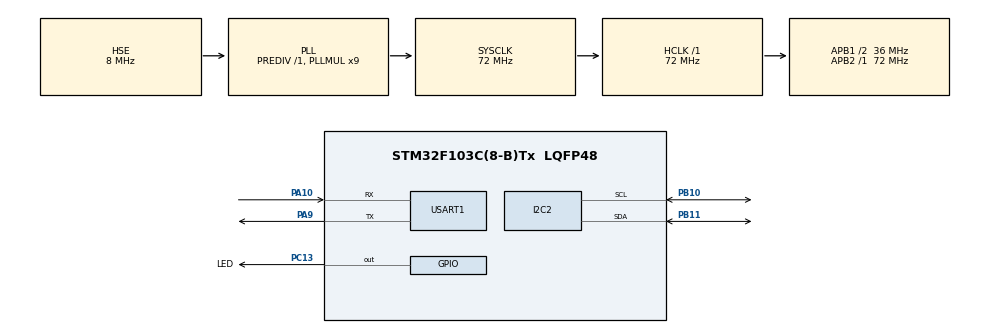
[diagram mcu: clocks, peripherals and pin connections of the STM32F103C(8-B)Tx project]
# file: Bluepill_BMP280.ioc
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Mcu.Family=STM32F1
Mcu.Name=STM32F103C(8-B)Tx
Mcu.Package=LQFP48
NVIC.PriorityGroup=NVIC_PRIORITYGROUP_4
PA10.Mode=Asynchronous
PA10.Signal=USART1_RX
PA13.Mode=Serial_Wire
PA13.Signal=SYS_JTMS-SWDIO
PA14.Mode=Serial_Wire
PA14.Signal=SYS_JTCK-SWCLK
PA9.Mode=Asynchronous
PA9.Signal=USART1_TX
PB10.Mode=I2C
PB10.Signal=I2C2_SCL
PB11.Mode=I2C
PB11.Signal=I2C2_SDA
PC13-TAMPER-RTC.GPIO_Label=LED
PC13-TAMPER-RTC.GPIO_ModeDefaultOutputPP=GPIO_MODE_OUTPUT_OD
PC13-TAMPER-RTC.GPIO_PuPd=GPIO_NOPULL
PC13-TAMPER-RTC.PinState=GPIO_PIN_SET
PC13-TAMPER-RTC.Signal=GPIO_Output
PD0-OSC_IN.Mode=HSE-External-Oscillator
PD0-OSC_IN.Signal=RCC_OSC_IN
PD1-OSC_OUT.Mode=HSE-External-Oscillator
PD1-OSC_OUT.Signal=RCC_OSC_OUT
ProjectManager.HeapSize=0x200
ProjectManager.StackSize=0x400
ProjectManager.TargetToolchain=STM32CubeIDE
RCC.AHBFreq_Value=72000000
RCC.APB1CLKDivider=RCC_HCLK_DIV2
RCC.APB1Freq_Value=36000000
RCC.APB1TimFreq_Value=72000000
RCC.APB2Freq_Value=72000000
RCC.APB2TimFreq_Value=72000000
RCC.HCLKFreq_Value=72000000
RCC.PLLMUL=RCC_PLL_MUL9
RCC.PLLSourceVirtual=RCC_PLLSOURCE_HSE
RCC.SYSCLKFreq_VALUE=72000000
RCC.SYSCLKSource=RCC_SYSCLKSOURCE_PLLCLK
RCC.USBFreq_Value=72000000
USART1.VirtualMode=VM_ASYNC
board=custom

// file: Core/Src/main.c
/* USER CODE BEGIN Header */
/**
  ******************************************************************************
  * @file           : main.c
  * @brief          : Main program body
  ******************************************************************************
  * @attention
  *
  * Copyright (c) 2025 STMicroelectronics.
  * All rights reserved.
  *
  * This software is licensed under terms that can be found in the LICENSE file
  * in the root directory of this software component.
  * If no LICENSE file comes with this software, it is provided AS-IS.
  *
  ******************************************************************************
  */
/* USER CODE END Header */
#include "main.h"

/* USER CODE BEGIN Includes */
#include <stdio.h>

/* USER CODE END Includes */

/* USER CODE BEGIN PTD */
typedef struct {
    uint16_t dig_T1;
    int16_t  dig_T2;
    int16_t  dig_T3;
    uint16_t dig_P1;
    int16_t  dig_P2;
    int16_t  dig_P3;
    int16_t  dig_P4;
    int16_t  dig_P5;
    int16_t  dig_P6;
    int16_t  dig_P7;
    int16_t  dig_P8;
    int16_t  dig_P9;
} bmp_calib_struct;

typedef struct{
	uint32_t raw_pressure;
	uint32_t raw_temp;
}bmp_raw_struct;

typedef struct{
	uint32_t scaled_pressure;
	int32_t scaled_temp;
}bmp_scaled_struct;

/* USER CODE END PTD */

/* USER CODE BEGIN PD */
#define BMP_ADDRESS 0x76<<1
#define BMP_CALIB_REG_ADDRESS 0x88

/* USER CODE END PD */

I2C_HandleTypeDef hi2c2;

UART_HandleTypeDef huart1;

/* USER CODE BEGIN PV */
bmp_calib_struct bmp_calib_data={0};
bmp_raw_struct bmp_raw={0};
bmp_scaled_struct bmp_scaled={0};

int32_t t_fine;

/* USER CODE END PV */

void SystemClock_Config(void);
static void MX_GPIO_Init(void);
static void MX_I2C2_Init(void);
static void MX_USART1_UART_Init(void);

/* USER CODE BEGIN 0 */

int _write(int fd, char *ptr, int len) {
    HAL_StatusTypeDef hstatus;

    if (fd == 1 || fd == 2) {
      hstatus = HAL_UART_Transmit(&huart1, (uint8_t *) ptr, len, HAL_MAX_DELAY);
      if (hstatus == HAL_OK)
        return len;
      else
        return -1;
    }
    return -1;
}

void bmp_init(){
	uint8_t reset = 0xB6;
	    HAL_I2C_Mem_Write(&hi2c2, BMP_ADDRESS, 0xE0, I2C_MEMADD_SIZE_8BIT, &reset, 1, 100); //Soft reset

	    HAL_Delay(5);

	    uint8_t ctrl_meas = 0x27;
	    HAL_I2C_Mem_Write(&hi2c2, BMP_ADDRESS, 0xF4, I2C_MEMADD_SIZE_8BIT, &ctrl_meas, 1, 100); //Minimal over-sampling and normal mode.

	    uint8_t config = 0x20;
	    HAL_I2C_Mem_Write(&hi2c2, BMP_ADDRESS, 0xF5, I2C_MEMADD_SIZE_8BIT, &config, 1, 100); //standby time setup, IIR filter off, SPI disabled.

}

void bmp_read_calib_data(bmp_calib_struct *bmp){
	    uint8_t rawValues[24];

	    uint8_t status;
	    uint32_t timeout = uwTick + 20;

	    do {
	        HAL_I2C_Mem_Read(&hi2c2, BMP_ADDRESS, 0xF3, I2C_MEMADD_SIZE_8BIT, &status, 1, 100);
	    } while ((status & 0x01) && uwTick < timeout);

	    HAL_I2C_Mem_Read(&hi2c2, BMP_ADDRESS, 0x88, I2C_MEMADD_SIZE_8BIT, rawValues, 24, 100);

	    bmp->dig_T1 = (rawValues[1] << 8) | rawValues[0];
	    bmp->dig_T2 = (rawValues[3] << 8) | rawValues[2];
	    bmp->dig_T3 = (rawValues[5] << 8) | rawValues[4];
	    bmp->dig_P1 = (rawValues[7] << 8) | rawValues[6];
	    bmp->dig_P2 = (rawValues[9] << 8) | rawValues[8];
	    bmp->dig_P3 = (rawValues[11]<<8) | rawValues[10];
	    bmp->dig_P4 = (rawValues[13]<<8) | rawValues[12];
	    bmp->dig_P5 = (rawValues[15]<<8) | rawValues[14];
	    bmp->dig_P6 = (rawValues[17]<<8) | rawValues[16];
	    bmp->dig_P7 = (rawValues[19]<<8) | rawValues[18];
	    bmp->dig_P8 = (rawValues[21]<<8) | rawValues[20];
	    bmp->dig_P9 = (rawValues[23]<<8) | rawValues[22];
}

void bmp_raw_read(bmp_raw_struct *bmp){
	uint8_t rawValues[6];

//	uint8_t status;
//
//	do{
//		HAL_I2C_Mem_Read(&hi2c2, BMP_ADDRESS, 0xF3, I2C_MEMADD_SIZE_8BIT, &status, 1, 100);
//	}while(status & 0x08);

	HAL_I2C_Mem_Read(&hi2c2, BMP_ADDRESS, 0xF7, I2C_MEMADD_SIZE_8BIT, rawValues, 6, 100);

	bmp->raw_pressure=(rawValues[0]<<12) | (rawValues[1]<<4) | (rawValues[2]>>4);
	bmp->raw_temp=(rawValues[3]<<12) | (rawValues[4]<<4) | (rawValues[5]>>4);
}

void bmp_scaling(bmp_calib_struct *bmpCalib, bmp_raw_struct *bmpRaw, bmp_scaled_struct *bmpScaled)
{
    // Temperature compensation
    int32_t Var1, Var2;

    Var1 = ((((bmpRaw->raw_temp >> 3) - ((int32_t)bmpCalib->dig_T1 << 1)) *
             (int32_t)bmpCalib->dig_T2) >> 11);

    Var2 = (((((bmpRaw->raw_temp >> 4) - ((int32_t)bmpCalib->dig_T1)) *
              ((bmpRaw->raw_temp >> 4) - ((int32_t)bmpCalib->dig_T1))) >> 12) *
            (int32_t)bmpCalib->dig_T3) >> 14;

    t_fine = Var1 + Var2;
    bmpScaled->scaled_temp = (t_fine * 5 + 128) >> 8;

    // Pressure compensation
    int64_t var1, var2, p;

    var1 = (int64_t)((t_fine - 128000) >> 0);
    var2 = var1 * var1 * (int64_t)bmpCalib->dig_P6;
    var2 = var2 + ((var1 * (int64_t)bmpCalib->dig_P5) << 17);
    var2 = var2 + ((int64_t)bmpCalib->dig_P4 << 35);

    var1 = ((var1 * var1 * (int64_t)bmpCalib->dig_P3) >> 8) +
           ((var1 * (int64_t)bmpCalib->dig_P2) << 12);
    var1 = (((((int64_t)1) << 47) + var1)) * ((int64_t)bmpCalib->dig_P1) >> 33;

    if (var1 == 0) {
        bmpScaled->scaled_pressure = 0;
        return;
    }

    p = 1048576LL - bmpRaw->raw_pressure;
    p = (((p << 31) - var2) * 3125LL) / var1;

    var1 = (((int64_t)bmpCalib->dig_P9) * (p >> 13) * (p >> 13)) >> 25;
    var2 = (((int64_t)bmpCalib->dig_P8) * p) >> 19;

    p = ((p + var1 + var2) >> 8) + (((int64_t)bmpCalib->dig_P7) << 4);
    bmpScaled->scaled_pressure = (uint32_t)p>>8;
}

//void i2c_scan() {
//    printf("Scanning I2C...\r\n");
//    for(uint8_t addr=1; addr<127; addr++) {
//        if(HAL_I2C_IsDeviceReady(&hi2c2, (addr<<1), 1, 10) == HAL_OK) {
//            printf("Found: 0x%02X\r\n", addr);
//        }
//    }
//}

/* USER CODE END 0 */

int main(void)
{

  /* MCU Configuration--------------------------------------------------------*/

  /* Reset of all peripherals, Initializes the Flash interface and the Systick. */
  HAL_Init();

  /* Configure the system clock */
  SystemClock_Config();

  /* Initialize all configured peripherals */
  MX_GPIO_Init();
  MX_I2C2_Init();
  MX_USART1_UART_Init();
  /* USER CODE BEGIN 2 */

  printf("--------------\r\n");

  HAL_Delay(1000);
  bmp_init();
  //i2c_scan();

//  HAL_StatusTypeDef s;
//  uint8_t id = 0xFF;
//  HAL_I2C_Init(&hi2c2);
//  HAL_Delay(5);
//
//  s = HAL_I2C_Mem_Read(&hi2c2, BMP_ADDRESS, 0xD0,
//                       I2C_MEMADD_SIZE_8BIT, &id, 1, 200);
//
//  printf("BMP probe: status=%d id=0x%02X\r\n", s, id);

  bmp_read_calib_data(&bmp_calib_data);

  printf("Calibration values-> T1=%u, P1=%u, P2=%d\r\n", bmp_calib_data.dig_T1, bmp_calib_data.dig_P1, bmp_calib_data.dig_P2);

  uint32_t now=0, nextBlink=500, nextBMP=1000;

  /* USER CODE END 2 */

  /* Infinite loop */
  /* USER CODE BEGIN WHILE */
  while (1)
  {
	  now=uwTick;

	  if(now>nextBlink){
		  HAL_GPIO_TogglePin(LED_GPIO_Port, LED_Pin);
		  nextBlink=now+500;

	  }

	  if(now>=nextBMP){
		  bmp_raw_read(&bmp_raw);
		  bmp_scaling(&bmp_calib_data, &bmp_raw, &bmp_scaled);
		  nextBMP+=1000;

		  printf("Raw pressure: %lu, Raw temperature: %lu\r\n", bmp_raw.raw_pressure, bmp_raw.raw_temp);
		  printf("Pressure: %lu, Temperature: %ld\r\n", bmp_scaled.scaled_pressure, bmp_scaled.scaled_temp);
	  }
    /* USER CODE END WHILE */

  }
}

void SystemClock_Config(void)
{
  RCC_OscInitTypeDef RCC_OscInitStruct = {0};
  RCC_ClkInitTypeDef RCC_ClkInitStruct = {0};

  /** Initializes the RCC Oscillators according to the specified parameters
  * in the RCC_OscInitTypeDef structure.
  */
  RCC_OscInitStruct.OscillatorType = RCC_OSCILLATORTYPE_HSE;
  RCC_OscInitStruct.HSEState = RCC_HSE_ON;
  RCC_OscInitStruct.HSEPredivValue = RCC_HSE_PREDIV_DIV1;
  RCC_OscInitStruct.HSIState = RCC_HSI_ON;
  RCC_OscInitStruct.PLL.PLLState = RCC_PLL_ON;
  RCC_OscInitStruct.PLL.PLLSource = RCC_PLLSOURCE_HSE;
  RCC_OscInitStruct.PLL.PLLMUL = RCC_PLL_MUL9;
  if (HAL_RCC_OscConfig(&RCC_OscInitStruct) != HAL_OK)
  {
    Error_Handler();
  }

  /** Initializes the CPU, AHB and APB buses clocks
  */
  RCC_ClkInitStruct.ClockType = RCC_CLOCKTYPE_HCLK|RCC_CLOCKTYPE_SYSCLK
                              |RCC_CLOCKTYPE_PCLK1|RCC_CLOCKTYPE_PCLK2;
  RCC_ClkInitStruct.SYSCLKSource = RCC_SYSCLKSOURCE_PLLCLK;
  RCC_ClkInitStruct.AHBCLKDivider = RCC_SYSCLK_DIV1;
  RCC_ClkInitStruct.APB1CLKDivider = RCC_HCLK_DIV2;
  RCC_ClkInitStruct.APB2CLKDivider = RCC_HCLK_DIV1;

  if (HAL_RCC_ClockConfig(&RCC_ClkInitStruct, FLASH_LATENCY_2) != HAL_OK)
  {
    Error_Handler();
  }
}

static void MX_I2C2_Init(void)
{

  hi2c2.Instance = I2C2;
  hi2c2.Init.ClockSpeed = 100000;
  hi2c2.Init.DutyCycle = I2C_DUTYCYCLE_2;
  hi2c2.Init.OwnAddress1 = 0;
  hi2c2.Init.AddressingMode = I2C_ADDRESSINGMODE_7BIT;
  hi2c2.Init.DualAddressMode = I2C_DUALADDRESS_DISABLE;
  hi2c2.Init.OwnAddress2 = 0;
  hi2c2.Init.GeneralCallMode = I2C_GENERALCALL_DISABLE;
  hi2c2.Init.NoStretchMode = I2C_NOSTRETCH_DISABLE;
  __HAL_RCC_I2C2_FORCE_RESET();
  __HAL_RCC_I2C2_RELEASE_RESET();
  if (HAL_I2C_Init(&hi2c2) != HAL_OK)
  {
    Error_Handler();
  }

}

static void MX_USART1_UART_Init(void)
{

  huart1.Instance = USART1;
  huart1.Init.BaudRate = 115200;
  huart1.Init.WordLength = UART_WORDLENGTH_8B;
  huart1.Init.StopBits = UART_STOPBITS_1;
  huart1.Init.Parity = UART_PARITY_NONE;
  huart1.Init.Mode = UART_MODE_TX_RX;
  huart1.Init.HwFlowCtl = UART_HWCONTROL_NONE;
  huart1.Init.OverSampling = UART_OVERSAMPLING_16;
  if (HAL_UART_Init(&huart1) != HAL_OK)
  {
    Error_Handler();
  }

}

static void MX_GPIO_Init(void)
{
  GPIO_InitTypeDef GPIO_InitStruct = {0};

  /* GPIO Ports Clock Enable */
  __HAL_RCC_GPIOC_CLK_ENABLE();
  __HAL_RCC_GPIOD_CLK_ENABLE();
  __HAL_RCC_GPIOB_CLK_ENABLE();
  __HAL_RCC_GPIOA_CLK_ENABLE();

  /*Configure GPIO pin Output Level */
  HAL_GPIO_WritePin(LED_GPIO_Port, LED_Pin, GPIO_PIN_SET);

  /*Configure GPIO pin : LED_Pin */
  GPIO_InitStruct.Pin = LED_Pin;
  GPIO_InitStruct.Mode = GPIO_MODE_OUTPUT_OD;
  GPIO_InitStruct.Pull = GPIO_NOPULL;
  GPIO_InitStruct.Speed = GPIO_SPEED_FREQ_LOW;
  HAL_GPIO_Init(LED_GPIO_Port, &GPIO_InitStruct);

}

void Error_Handler(void)
{
  __disable_irq();
  while (1)
  {
  }
}
